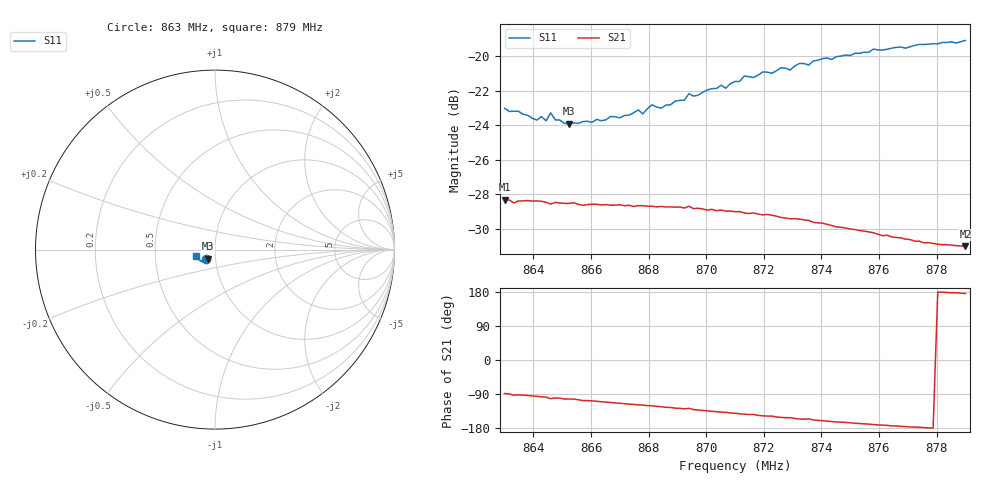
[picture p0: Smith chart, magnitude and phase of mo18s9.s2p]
# HZ S RI R 50
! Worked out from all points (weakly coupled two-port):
!   101 points, 863 MHz to 879 MHz, reference 50 ohm
!   highest |S21| = -28.32 dB at 863 MHz (marker M1); lowest = -31.0 dB at 879 MHz (marker M2)
!   lowest |S11| = -23.9 dB at 865.24 MHz (marker M3), VSWR 1.14, Z = 46 - j4.65 ohm
!   |S11| at or under -10 dB: start of sweep to end of sweep
!   S12 and S22 are empty: the file has one direction only
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8.63e8  -0.0491 -0.0507  0.00106 -0.0384  0 0  0 0
8.6412e8  -0.0435 -0.0487  -0.00385 -0.0379  0 0  0 0
8.6428e8  -0.0427 -0.0514  -0.00474 -0.0377  0 0  0 0
8.6444e8  -0.042 -0.0495  -0.0052 -0.0374  0 0  0 0
8.646e8  -0.0456 -0.051  -0.00782 -0.0364  0 0  0 0
8.6476e8  -0.0416 -0.0504  -0.00658 -0.0371  0 0  0 0
8.6524e8  -0.039 -0.0503  -0.00851 -0.0364  0 0  0 0
8.6572e8  -0.039 -0.0515  -0.0109 -0.0353  0 0  0 0
8.67e8  -0.037 -0.0549  -0.0152 -0.0339  0 0  0 0
8.6764e8  -0.0376 -0.0588  -0.0175 -0.0325  0 0  0 0
8.678e8  -0.0366 -0.0573  -0.0178 -0.0323  0 0  0 0
8.6812e8  -0.0406 -0.0597  -0.0188 -0.0316  0 0  0 0
8.6844e8  -0.0375 -0.0599  -0.0201 -0.0307  0 0  0 0
8.6924e8  -0.0395 -0.0631  -0.0228 -0.0283  0 0  0 0
8.694e8  -0.0436 -0.0644  -0.0224 -0.0291  0 0  0 0
8.6972e8  -0.0411 -0.0651  -0.0242 -0.0269  0 0  0 0
8.7052e8  -0.0463 -0.068  -0.0264 -0.0242  0 0  0 0
8.7068e8  -0.0449 -0.0671  -0.0265 -0.0237  0 0  0 0
8.71e8  -0.0494 -0.0684  -0.0273 -0.0225  0 0  0 0
8.7372e8  -0.0682 -0.0687  -0.0307 -0.0122  0 0  0 0
8.7644e8  -0.0892 -0.0561  -0.0298 -0.00318  0 0  0 0
8.79e8  -0.1057 -0.0337  -0.0281 0.00227  0 0  0 0
